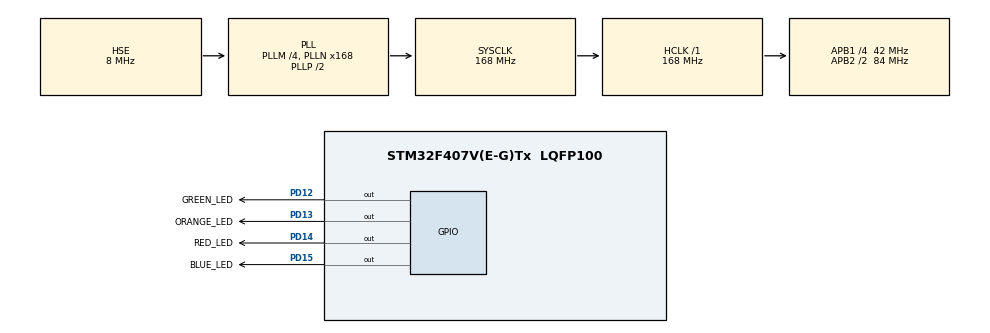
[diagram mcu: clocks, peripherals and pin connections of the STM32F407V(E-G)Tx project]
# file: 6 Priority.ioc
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Mcu.Family=STM32F4
Mcu.Name=STM32F407V(E-G)Tx
Mcu.Package=LQFP100
NVIC.PriorityGroup=NVIC_PRIORITYGROUP_4
PA13.Mode=Serial_Wire
PA13.Signal=SYS_JTMS-SWDIO
PA14.Mode=Serial_Wire
PA14.Signal=SYS_JTCK-SWCLK
PD12.GPIO_Label=GREEN_LED
PD12.Signal=GPIO_Output
PD13.GPIO_Label=ORANGE_LED
PD13.Signal=GPIO_Output
PD14.GPIO_Label=RED_LED
PD14.Signal=GPIO_Output
PD15.GPIO_Label=BLUE_LED
PD15.Signal=GPIO_Output
PH0-OSC_IN.Mode=HSE-External-Oscillator
PH0-OSC_IN.Signal=RCC_OSC_IN
PH1-OSC_OUT.Mode=HSE-External-Oscillator
PH1-OSC_OUT.Signal=RCC_OSC_OUT
ProjectManager.HeapSize=0x200
ProjectManager.StackSize=0x400
ProjectManager.TargetToolchain=MDK-ARM V5.32
RCC.48MHZClocksFreq_Value=84000000
RCC.AHBFreq_Value=168000000
RCC.APB1CLKDivider=RCC_HCLK_DIV4
RCC.APB1Freq_Value=42000000
RCC.APB1TimFreq_Value=84000000
RCC.APB2CLKDivider=RCC_HCLK_DIV2
RCC.APB2Freq_Value=84000000
RCC.APB2TimFreq_Value=168000000
RCC.CortexFreq_Value=168000000
RCC.HCLKFreq_Value=168000000
RCC.HSE_VALUE=8000000
RCC.HSI_VALUE=16000000
RCC.LSE_VALUE=32768
RCC.PLLM=4
RCC.PLLN=168
RCC.PLLSourceVirtual=RCC_PLLSOURCE_HSE
RCC.SYSCLKFreq_VALUE=168000000
RCC.SYSCLKSource=RCC_SYSCLKSOURCE_PLLCLK
RCC.VCOOutputFreq_Value=336000000
board=custom

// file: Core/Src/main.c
/* USER CODE BEGIN Header */
/**
  ******************************************************************************
  * @file           : main.c
  * @brief          : Main program body
  ******************************************************************************
  * @attention
  *
  * Copyright (c) 2024 STMicroelectronics.
  * All rights reserved.
  *
  * This software is licensed under terms that can be found in the LICENSE file
  * in the root directory of this software component.
  * If no LICENSE file comes with this software, it is provided AS-IS.
  *
  ******************************************************************************
  */
/* USER CODE END Header */
#include "main.h"
#include "gpio.h"

/* USER CODE BEGIN Includes */
#include "FreeRTOS.h"

/* USER CODE END Includes */

/* USER CODE BEGIN PV */
// 软件延时
void delay(uint32_t count)
{
	for(;count!=0;count--);
}

TaskHandle_t Task1_Handle;
#define TASK1_STACK_SIZE                    128
StackType_t Task1Stack[TASK1_STACK_SIZE];
TCB_t Task1TCB;
UBaseType_t Task1Priority = 1;

TaskHandle_t Task2_Handle;
#define TASK2_STACK_SIZE                    128
StackType_t Task2Stack[TASK2_STACK_SIZE];
TCB_t Task2TCB;
UBaseType_t Task2Priority = 2;

// 任务 1 入口函数
void Task1_Entry(void *parg)
{
	for(;;)
	{
		HAL_GPIO_TogglePin(GREEN_LED_GPIO_Port, GREEN_LED_Pin);
		vTaskDelay(100);
	}
}
// 任务 2 入口函数
void Task2_Entry(void *parg)
{
	for(;;)
	{
		HAL_GPIO_TogglePin(ORANGE_LED_GPIO_Port, ORANGE_LED_Pin);
		// 模拟高优先级任务一直运行
		delay(10000000);
	}
}
/* USER CODE END PV */

void SystemClock_Config(void);

int main(void)
{

  /* MCU Configuration--------------------------------------------------------*/

  /* Reset of all peripherals, Initializes the Flash interface and the Systick. */
  HAL_Init();

  /* Configure the system clock */
  SystemClock_Config();

  /* Initialize all configured peripherals */
  MX_GPIO_Init();
  /* USER CODE BEGIN 2 */
	// 创建任务 1 和 2
	Task1_Handle = xTaskCreateStatic((TaskFunction_t)Task1_Entry,
									 (char *)"Task1",
									 (uint32_t)TASK1_STACK_SIZE,
									 (void *)NULL,
									 (UBaseType_t)Task1Priority,
									 (StackType_t *)Task1Stack,
									 (TCB_t *)&Task1TCB);

	Task2_Handle = xTaskCreateStatic((TaskFunction_t)Task2_Entry,
									 (char *)"Task2",
									 (uint32_t)TASK2_STACK_SIZE,
									 (void *) NULL,
									 (UBaseType_t)Task2Priority,
									 (StackType_t *)Task2Stack,
									 (TCB_t *)&Task2TCB );
	// 启动任务调度器，永不返回
	vTaskStartScheduler();
  /* USER CODE END 2 */

  /* Infinite loop */
  while (1)
  {

    /* USER CODE BEGIN 3 */
		HAL_Delay(100);
		HAL_GPIO_TogglePin(RED_LED_GPIO_Port, RED_LED_Pin);
  }
  /* USER CODE END 3 */
}

void SystemClock_Config(void)
{
  RCC_OscInitTypeDef RCC_OscInitStruct = {0};
  RCC_ClkInitTypeDef RCC_ClkInitStruct = {0};

  /** Configure the main internal regulator output voltage
  */
  __HAL_RCC_PWR_CLK_ENABLE();
  __HAL_PWR_VOLTAGESCALING_CONFIG(PWR_REGULATOR_VOLTAGE_SCALE1);

  /** Initializes the RCC Oscillators according to the specified parameters
  * in the RCC_OscInitTypeDef structure.
  */
  RCC_OscInitStruct.OscillatorType = RCC_OSCILLATORTYPE_HSE;
  RCC_OscInitStruct.HSEState = RCC_HSE_ON;
  RCC_OscInitStruct.PLL.PLLState = RCC_PLL_ON;
  RCC_OscInitStruct.PLL.PLLSource = RCC_PLLSOURCE_HSE;
  RCC_OscInitStruct.PLL.PLLM = 4;
  RCC_OscInitStruct.PLL.PLLN = 168;
  RCC_OscInitStruct.PLL.PLLP = RCC_PLLP_DIV2;
  RCC_OscInitStruct.PLL.PLLQ = 4;
  if (HAL_RCC_OscConfig(&RCC_OscInitStruct) != HAL_OK)
  {
    Error_Handler();
  }

  /** Initializes the CPU, AHB and APB buses clocks
  */
  RCC_ClkInitStruct.ClockType = RCC_CLOCKTYPE_HCLK|RCC_CLOCKTYPE_SYSCLK
                              |RCC_CLOCKTYPE_PCLK1|RCC_CLOCKTYPE_PCLK2;
  RCC_ClkInitStruct.SYSCLKSource = RCC_SYSCLKSOURCE_PLLCLK;
  RCC_ClkInitStruct.AHBCLKDivider = RCC_SYSCLK_DIV1;
  RCC_ClkInitStruct.APB1CLKDivider = RCC_HCLK_DIV4;
  RCC_ClkInitStruct.APB2CLKDivider = RCC_HCLK_DIV2;

  if (HAL_RCC_ClockConfig(&RCC_ClkInitStruct, FLASH_LATENCY_5) != HAL_OK)
  {
    Error_Handler();
  }
}

void Error_Handler(void)
{
  __disable_irq();
  while (1)
  {
  }
}
